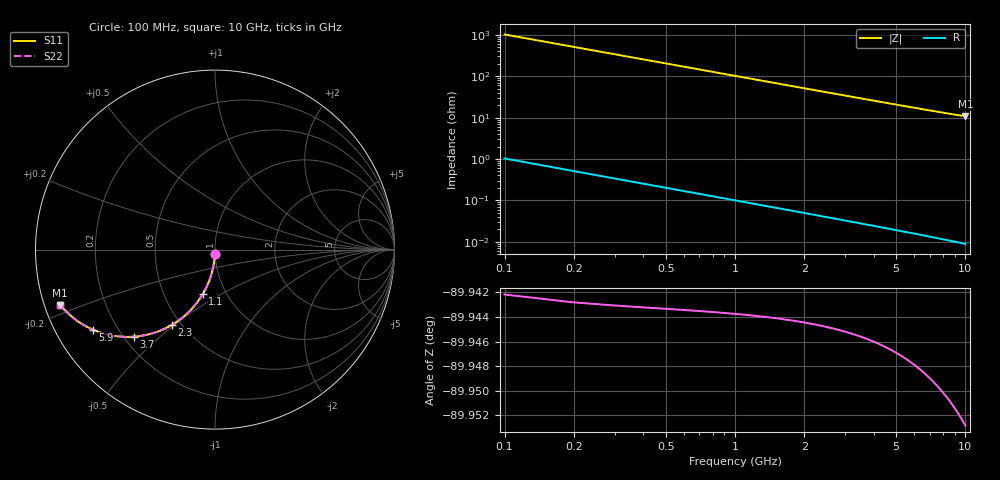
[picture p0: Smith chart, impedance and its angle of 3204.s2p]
# Hz S RI R 50.00
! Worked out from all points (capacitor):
!   100 points, 100 MHz to 10 GHz, reference 50 ohm
!   read as one part in shunt: C = 1.56 pF near 100 MHz
!   lowest |Z| = 10.8 ohm at 10 GHz (marker M1)
!   S11 on the Smith chart (normalised r, x): 100 MHz: 1.00, -0.05; 1.1 GHz: 0.78, -0.41; 2.3 GHz: 0.45, -0.49; 3.7 GHz: 0.24, -0.41; 5.9 GHz: 0.11, -0.30; 10 GHz: 0.05, -0.17
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1e8  -0.000566 -0.0241  0.9993 -0.0248  0.9993 -0.0248  -0.000566 -0.0241
2e8  -0.00238 -0.0482  0.9975 -0.0495  0.9975 -0.0495  -0.00238 -0.0482
3e8  -0.00538 -0.0721  0.9945 -0.074  0.9945 -0.074  -0.00538 -0.0721
4e8  -0.00954 -0.0957  0.9903 -0.0983  0.9903 -0.0983  -0.00954 -0.0957
5e8  -0.0148 -0.119  0.9851 -0.1222  0.9851 -0.1222  -0.0148 -0.119
6e8  -0.0212 -0.1419  0.9787 -0.1457  0.9787 -0.1457  -0.0212 -0.1419
7e8  -0.0286 -0.1643  0.9712 -0.1687  0.9712 -0.1687  -0.0286 -0.1643
9e8  -0.0465 -0.2073  0.9534 -0.213  0.9534 -0.213  -0.0465 -0.2073
1.1e9  -0.0679 -0.2476  0.932 -0.2547  0.932 -0.2547  -0.0679 -0.2476
1.4e9  -0.1055 -0.3023  0.8943 -0.3113  0.8943 -0.3113  -0.1055 -0.3023
1.8e9  -0.1632 -0.3634  0.8366 -0.3749  0.8366 -0.3749  -0.1632 -0.3634
2.3e9  -0.2417 -0.4203  0.758 -0.4351  0.758 -0.4351  -0.2417 -0.4203
2.8e9  -0.3212 -0.4574  0.6785 -0.4755  0.6785 -0.4755  -0.3212 -0.4574
3.4e9  -0.4114 -0.4806  0.5882 -0.5027  0.5882 -0.5027  -0.4114 -0.4806
3.7e9  -0.4532 -0.4853  0.5464 -0.5094  0.5464 -0.5094  -0.4532 -0.4853
4.4e9  -0.5403 -0.4835  0.4591 -0.5122  0.4591 -0.5122  -0.5403 -0.4835
5.1e9  -0.6131 -0.4697  0.3862 -0.5032  0.3862 -0.5032  -0.6131 -0.4697
5.9e9  -0.6805 -0.4461  0.3186 -0.4851  0.3186 -0.4851  -0.6805 -0.4461
6.7e9  -0.734 -0.4187  0.2649 -0.4634  0.2649 -0.4634  -0.734 -0.4187
7.5e9  -0.7765 -0.3905  0.2221 -0.4408  0.2221 -0.4408  -0.7765 -0.3905
8.4e9  -0.8142 -0.3593  0.184 -0.4161  0.184 -0.4161  -0.8142 -0.3593
1e10  -0.8626 -0.3081  0.1349 -0.3767  0.1349 -0.3767  -0.8626 -0.3081
